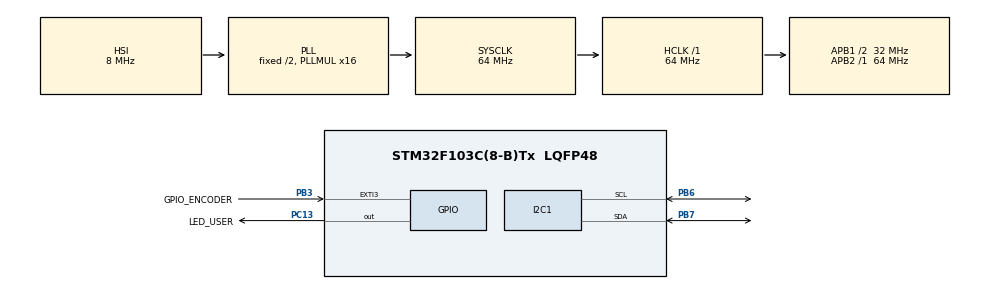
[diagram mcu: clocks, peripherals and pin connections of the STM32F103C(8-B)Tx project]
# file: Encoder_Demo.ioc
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FREERTOS.Tasks01=defaultTask,0,128,StartDefaultTask,Default,NULL,Dynamic,NULL,NULL;lcdTask,-1,128,LCD_Task,Default,NULL,Static,LCD_TaskBuffer,LCD_TaskControlBlock
FREERTOS.configUSE_IDLE_HOOK=1
I2C1.OwnAddress=0x3F
Mcu.Family=STM32F1
Mcu.Name=STM32F103C(8-B)Tx
Mcu.Package=LQFP48
NVIC.EXTI3_IRQn=true\:5\:0\:false\:false\:true\:false\:true\:true\:true
NVIC.PriorityGroup=NVIC_PRIORITYGROUP_4
NVIC.TIM1_UP_IRQn=true\:15\:0\:false\:false\:true\:false\:false\:true\:true
NVIC.TimeBase=TIM1_UP_IRQn
NVIC.TimeBaseIP=TIM1
PA13.Mode=Serial_Wire
PA13.Signal=SYS_JTMS-SWDIO
PA14.Mode=Serial_Wire
PA14.Signal=SYS_JTCK-SWCLK
PB3.GPIO_Label=GPIO_ENCODER
PB3.GPIO_ModeDefaultEXTI=GPIO_MODE_IT_RISING_FALLING
PB3.GPIO_PuPd=GPIO_PULLDOWN
PB3.Signal=GPXTI3
PB6.Mode=I2C
PB6.Signal=I2C1_SCL
PB7.Mode=I2C
PB7.Signal=I2C1_SDA
PC13-TAMPER-RTC.GPIO_Label=LED_USER
PC13-TAMPER-RTC.Signal=GPIO_Output
PD0-OSC_IN.Mode=HSE-External-Clock-Source
PD0-OSC_IN.Signal=RCC_OSC_IN
PD1-OSC_OUT.Mode=HSE-External-Clock-Source
PD1-OSC_OUT.Signal=RCC_OSC_OUT
ProjectManager.HeapSize=0x200
ProjectManager.StackSize=0x400
ProjectManager.TargetToolchain=Makefile
RCC.AHBFreq_Value=64000000
RCC.APB1CLKDivider=RCC_HCLK_DIV2
RCC.APB1Freq_Value=32000000
RCC.APB1TimFreq_Value=64000000
RCC.APB2Freq_Value=64000000
RCC.APB2TimFreq_Value=64000000
RCC.HCLKFreq_Value=64000000
RCC.PLLMUL=RCC_PLL_MUL16
RCC.SYSCLKFreq_VALUE=64000000
RCC.SYSCLKSource=RCC_SYSCLKSOURCE_PLLCLK
RCC.USBFreq_Value=64000000
VP_FREERTOS_VS_CMSIS_V1.Mode=CMSIS_V1
VP_SYS_VS_tim1.Mode=TIM1
board=custom

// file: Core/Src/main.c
/* USER CODE BEGIN Header */
/**
  ******************************************************************************
  * @file           : main.c
  * @brief          : Main program body
  ******************************************************************************
  * @attention
  *
  * Copyright (c) 2023 STMicroelectronics.
  * All rights reserved.
  *
  * This software is licensed under terms that can be found in the LICENSE file
  * in the root directory of this software component.
  * If no LICENSE file comes with this software, it is provided AS-IS.
  *
  ******************************************************************************
  */
/* USER CODE END Header */
#include "main.h"
#include "cmsis_os.h"

/* USER CODE BEGIN Includes */
#include "i2c_lcd.h"
#include "stdio.h"
#include "cfg_user.h"
/* USER CODE END Includes */

I2C_HandleTypeDef hi2c1;

osThreadId defaultTaskHandle;
osThreadId lcdTaskHandle;
uint32_t LCD_TaskBuffer[ 128 ];
osStaticThreadDef_t LCD_TaskControlBlock;
/* USER CODE BEGIN PV */
i2cLcd_HandleTypeDef h_lcd;
volatile uint32_t encoder_counter = 0;
volatile uint8_t encoder_rotated = 0;
/* USER CODE END PV */

void SystemClock_Config(void);
static void MX_GPIO_Init(void);
static void MX_I2C1_Init(void);
void StartDefaultTask(void const * argument);
void LCD_Task(void const * argument);

/* USER CODE BEGIN 0 */
int8_t print_long_text(i2cLcd_HandleTypeDef *h_lcd, char * text){
    uint8_t i = 0u;
    int8_t retVal = 1;

    if(text == NULL) {
        retVal = -1;
    }

    while(text[i]){
        i2cLcd_SendChar(h_lcd, text[i]);
        if(i == 15) {
                i2cLcd_SetCursorPosition(h_lcd, 0x40); // 2nd line, 1st character address
        }
        i++;
    }

    return retVal;
}

/* USER CODE END 0 */

int main(void)
{

  /* MCU Configuration--------------------------------------------------------*/

  /* Reset of all peripherals, Initializes the Flash interface and the Systick. */
  HAL_Init();

  /* Configure the system clock */
  SystemClock_Config();

  /* Initialize all configured peripherals */
  MX_GPIO_Init();
  MX_I2C1_Init();
  /* USER CODE BEGIN 2 */
  HAL_GPIO_WritePin(LED_USER_GPIO_Port, LED_USER_Pin, GPIO_PIN_SET);

  i2cLcd_CreateHandle(&h_lcd, &hi2c1, I2C_LCD_ADDR);    // lcd handle struct pointer binding to i2c

  i2cLcd_Init(&h_lcd);  // init sequence for the lcd

  i2cLcd_ClearDisplay(&h_lcd);

  uint8_t cursor_position = 0;
  print_long_text(&h_lcd, "FreeRTOS        Encoder demo");

  HAL_Delay(500);

  //test_some_features(&h_lcd);

  /* USER CODE END 2 */

  /* Create the thread(s) */
  /* definition and creation of defaultTask */
  osThreadDef(defaultTask, StartDefaultTask, osPriorityNormal, 0, 128);
  defaultTaskHandle = osThreadCreate(osThread(defaultTask), NULL);

  /* definition and creation of lcdTask */
  osThreadStaticDef(lcdTask, LCD_Task, osPriorityBelowNormal, 0, 128, LCD_TaskBuffer, &LCD_TaskControlBlock);
  lcdTaskHandle = osThreadCreate(osThread(lcdTask), NULL);

  /* Start scheduler */
  osKernelStart();

  /* We should never get here as control is now taken by the scheduler */
  /* Infinite loop */
  while (1)
  {

  }
}

void SystemClock_Config(void)
{
  RCC_OscInitTypeDef RCC_OscInitStruct = {0};
  RCC_ClkInitTypeDef RCC_ClkInitStruct = {0};

  /** Initializes the RCC Oscillators according to the specified parameters
  * in the RCC_OscInitTypeDef structure.
  */
  RCC_OscInitStruct.OscillatorType = RCC_OSCILLATORTYPE_HSI;
  RCC_OscInitStruct.HSIState = RCC_HSI_ON;
  RCC_OscInitStruct.HSICalibrationValue = RCC_HSICALIBRATION_DEFAULT;
  RCC_OscInitStruct.PLL.PLLState = RCC_PLL_ON;
  RCC_OscInitStruct.PLL.PLLSource = RCC_PLLSOURCE_HSI_DIV2;
  RCC_OscInitStruct.PLL.PLLMUL = RCC_PLL_MUL16;
  if (HAL_RCC_OscConfig(&RCC_OscInitStruct) != HAL_OK)
  {
    Error_Handler();
  }

  /** Initializes the CPU, AHB and APB buses clocks
  */
  RCC_ClkInitStruct.ClockType = RCC_CLOCKTYPE_HCLK|RCC_CLOCKTYPE_SYSCLK
                              |RCC_CLOCKTYPE_PCLK1|RCC_CLOCKTYPE_PCLK2;
  RCC_ClkInitStruct.SYSCLKSource = RCC_SYSCLKSOURCE_PLLCLK;
  RCC_ClkInitStruct.AHBCLKDivider = RCC_SYSCLK_DIV1;
  RCC_ClkInitStruct.APB1CLKDivider = RCC_HCLK_DIV2;
  RCC_ClkInitStruct.APB2CLKDivider = RCC_HCLK_DIV1;

  if (HAL_RCC_ClockConfig(&RCC_ClkInitStruct, FLASH_LATENCY_2) != HAL_OK)
  {
    Error_Handler();
  }
}

static void MX_I2C1_Init(void)
{

  hi2c1.Instance = I2C1;
  hi2c1.Init.ClockSpeed = 100000;
  hi2c1.Init.DutyCycle = I2C_DUTYCYCLE_2;
  hi2c1.Init.OwnAddress1 = 126;
  hi2c1.Init.AddressingMode = I2C_ADDRESSINGMODE_7BIT;
  hi2c1.Init.DualAddressMode = I2C_DUALADDRESS_DISABLE;
  hi2c1.Init.OwnAddress2 = 0;
  hi2c1.Init.GeneralCallMode = I2C_GENERALCALL_DISABLE;
  hi2c1.Init.NoStretchMode = I2C_NOSTRETCH_DISABLE;
  if (HAL_I2C_Init(&hi2c1) != HAL_OK)
  {
    Error_Handler();
  }

}

static void MX_GPIO_Init(void)
{
  GPIO_InitTypeDef GPIO_InitStruct = {0};

  /* GPIO Ports Clock Enable */
  __HAL_RCC_GPIOC_CLK_ENABLE();
  __HAL_RCC_GPIOD_CLK_ENABLE();
  __HAL_RCC_GPIOA_CLK_ENABLE();
  __HAL_RCC_GPIOB_CLK_ENABLE();

  /*Configure GPIO pin Output Level */
  HAL_GPIO_WritePin(LED_USER_GPIO_Port, LED_USER_Pin, GPIO_PIN_RESET);

  /*Configure GPIO pin : LED_USER_Pin */
  GPIO_InitStruct.Pin = LED_USER_Pin;
  GPIO_InitStruct.Mode = GPIO_MODE_OUTPUT_PP;
  GPIO_InitStruct.Pull = GPIO_NOPULL;
  GPIO_InitStruct.Speed = GPIO_SPEED_FREQ_LOW;
  HAL_GPIO_Init(LED_USER_GPIO_Port, &GPIO_InitStruct);

  /*Configure GPIO pin : GPIO_ENCODER_Pin */
  GPIO_InitStruct.Pin = GPIO_ENCODER_Pin;
  GPIO_InitStruct.Mode = GPIO_MODE_IT_RISING_FALLING;
  GPIO_InitStruct.Pull = GPIO_PULLDOWN;
  HAL_GPIO_Init(GPIO_ENCODER_GPIO_Port, &GPIO_InitStruct);

  /* EXTI interrupt init*/
  HAL_NVIC_SetPriority(EXTI3_IRQn, 5, 0);
  HAL_NVIC_EnableIRQ(EXTI3_IRQn);

}

/* USER CODE BEGIN 4 */
void HAL_GPIO_EXTI_Callback(uint16_t GPIO_Pin)
{
    HAL_GPIO_TogglePin(LED_USER_GPIO_Port, LED_USER_Pin);
    encoder_counter++;
    encoder_rotated = 1;
}
/* USER CODE END 4 */

void StartDefaultTask(void const * argument)
{
  for(;;)
  {
    osDelay(1);
  }
}

void LCD_Task(void const * argument)
{
  /* USER CODE BEGIN LCD_Task */
    char lcdBuff[16] = {0};
    static uint8_t firstWrite = 1u;
  /* Infinite loop */
  for(;;)
  {
    osDelay(100);
    if(1 == encoder_rotated) {
            if(firstWrite) {
                    i2cLcd_ClearDisplay(&h_lcd);
                    i2cLcd_ReturnHome(&h_lcd);
                    sprintf(lcdBuff, "Encoder demo");
                    print_long_text(&h_lcd, lcdBuff);
                    i2cLcd_SetCursorPosition(&h_lcd, 0x40);
                    sprintf(lcdBuff, "counter=");
                    print_long_text(&h_lcd, lcdBuff);
                    firstWrite = 0u;
            }
            sprintf(lcdBuff, "%lu",encoder_counter);
            i2cLcd_SetCursorPosition(&h_lcd, 0x48);
            print_long_text(&h_lcd, lcdBuff);
            encoder_rotated = 0;
    }
  }
  /* USER CODE END LCD_Task */
}

void HAL_TIM_PeriodElapsedCallback(TIM_HandleTypeDef *htim)
{
  if (htim->Instance == TIM1) {
    HAL_IncTick();
  }
}

void Error_Handler(void)
{
  __disable_irq();
  while (1)
  {
  }
}
